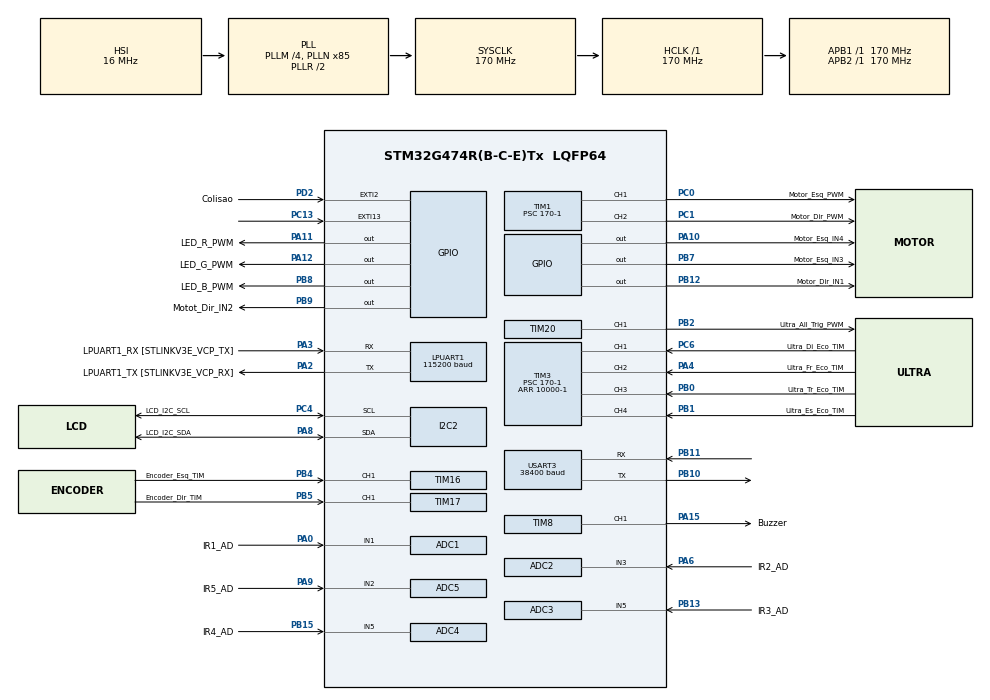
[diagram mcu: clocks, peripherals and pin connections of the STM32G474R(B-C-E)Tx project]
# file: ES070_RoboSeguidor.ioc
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ADC1.Channel-2\#ChannelRegularConversion=ADC_CHANNEL_1
ADC1.ContinuousConvMode=ENABLE
ADC1.DMAContinuousRequests=ENABLE
ADC1.NbrOfConversionFlag=1
ADC1.OffsetNumber-2\#ChannelRegularConversion=ADC_OFFSET_NONE
ADC1.OversamplingMode=ENABLE
ADC1.Rank-2\#ChannelRegularConversion=1
ADC1.Ratio=ADC_OVERSAMPLING_RATIO_16
ADC1.RightBitShift=ADC_RIGHTBITSHIFT_4
ADC1.SamplingTime-2\#ChannelRegularConversion=ADC_SAMPLETIME_2CYCLES_5
ADC1.master=1
ADC2.Channel-0\#ChannelRegularConversion=ADC_CHANNEL_3
ADC2.ClockPrescaler=ADC_CLOCK_SYNC_PCLK_DIV4
ADC2.ContinuousConvMode=ENABLE
ADC2.DMAContinuousRequests=ENABLE
ADC2.NbrOfConversionFlag=1
ADC2.OffsetNumber-0\#ChannelRegularConversion=ADC_OFFSET_NONE
ADC2.OversamplingMode=ENABLE
ADC2.Rank-0\#ChannelRegularConversion=1
ADC2.Ratio=ADC_OVERSAMPLING_RATIO_16
ADC2.RightBitShift=ADC_RIGHTBITSHIFT_4
ADC2.SamplingTime-0\#ChannelRegularConversion=ADC_SAMPLETIME_2CYCLES_5
ADC3.Channel-0\#ChannelRegularConversion=ADC_CHANNEL_5
ADC3.ClockPrescaler=ADC_CLOCK_ASYNC_DIV256
ADC3.ContinuousConvMode=ENABLE
ADC3.DMAContinuousRequests=ENABLE
ADC3.NbrOfConversionFlag=1
ADC3.OffsetNumber-0\#ChannelRegularConversion=ADC_OFFSET_NONE
ADC3.OversamplingMode=ENABLE
ADC3.Rank-0\#ChannelRegularConversion=1
ADC3.Ratio=ADC_OVERSAMPLING_RATIO_16
ADC3.RightBitShift=ADC_RIGHTBITSHIFT_4
ADC3.SamplingTime-0\#ChannelRegularConversion=ADC_SAMPLETIME_2CYCLES_5
ADC3.master=1
ADC4.Channel-0\#ChannelRegularConversion=ADC_CHANNEL_5
ADC4.ClockPrescaler=ADC_CLOCK_ASYNC_DIV256
ADC4.ContinuousConvMode=ENABLE
ADC4.DMAContinuousRequests=ENABLE
ADC4.NbrOfConversionFlag=1
ADC4.OffsetNumber-0\#ChannelRegularConversion=ADC_OFFSET_NONE
ADC4.OversamplingMode=ENABLE
ADC4.Rank-0\#ChannelRegularConversion=1
ADC4.Ratio=ADC_OVERSAMPLING_RATIO_16
ADC4.RightBitShift=ADC_RIGHTBITSHIFT_4
ADC4.SamplingTime-0\#ChannelRegularConversion=ADC_SAMPLETIME_2CYCLES_5
ADC5.Channel-0\#ChannelRegularConversion=ADC_CHANNEL_2
ADC5.ClockPrescaler=ADC_CLOCK_ASYNC_DIV256
ADC5.ContinuousConvMode=ENABLE
ADC5.DMAContinuousRequests=ENABLE
ADC5.NbrOfConversionFlag=1
ADC5.OffsetNumber-0\#ChannelRegularConversion=ADC_OFFSET_NONE
ADC5.OversamplingMode=ENABLE
ADC5.Rank-0\#ChannelRegularConversion=1
ADC5.Ratio=ADC_OVERSAMPLING_RATIO_16
ADC5.RightBitShift=ADC_RIGHTBITSHIFT_4
ADC5.SamplingTime-0\#ChannelRegularConversion=ADC_SAMPLETIME_2CYCLES_5
Dma.ADC1.4.Direction=DMA_PERIPH_TO_MEMORY
Dma.ADC1.4.EventEnable=DISABLE
Dma.ADC1.4.Instance=DMA1_Channel1
Dma.ADC1.4.MemDataAlignment=DMA_MDATAALIGN_HALFWORD
Dma.ADC1.4.MemInc=DMA_MINC_ENABLE
Dma.ADC1.4.Mode=DMA_CIRCULAR
Dma.ADC1.4.PeriphDataAlignment=DMA_PDATAALIGN_HALFWORD
Dma.ADC1.4.PeriphInc=DMA_PINC_DISABLE
Dma.ADC1.4.Polarity=HAL_DMAMUX_REQ_GEN_RISING
Dma.ADC1.4.Priority=DMA_PRIORITY_LOW
Dma.ADC1.4.RequestNumber=1
Dma.ADC1.4.SignalID=NONE
Dma.ADC1.4.SyncEnable=DISABLE
Dma.ADC1.4.SyncPolarity=HAL_DMAMUX_SYNC_NO_EVENT
Dma.ADC1.4.SyncRequestNumber=1
Dma.ADC1.4.SyncSignalID=NONE
Dma.ADC2.0.Direction=DMA_PERIPH_TO_MEMORY
Dma.ADC2.0.EventEnable=DISABLE
Dma.ADC2.0.Instance=DMA1_Channel2
Dma.ADC2.0.MemDataAlignment=DMA_MDATAALIGN_HALFWORD
Dma.ADC2.0.MemInc=DMA_MINC_ENABLE
Dma.ADC2.0.Mode=DMA_CIRCULAR
Dma.ADC2.0.PeriphDataAlignment=DMA_PDATAALIGN_HALFWORD
Dma.ADC2.0.PeriphInc=DMA_PINC_DISABLE
Dma.ADC2.0.Polarity=HAL_DMAMUX_REQ_GEN_RISING
Dma.ADC2.0.Priority=DMA_PRIORITY_LOW
Dma.ADC2.0.RequestNumber=1
Dma.ADC2.0.SignalID=NONE
Dma.ADC2.0.SyncEnable=DISABLE
Dma.ADC2.0.SyncPolarity=HAL_DMAMUX_SYNC_NO_EVENT
Dma.ADC2.0.SyncRequestNumber=1
Dma.ADC2.0.SyncSignalID=NONE
Dma.ADC3.1.Direction=DMA_PERIPH_TO_MEMORY
Dma.ADC3.1.EventEnable=DISABLE
Dma.ADC3.1.Instance=DMA1_Channel3
Dma.ADC3.1.MemDataAlignment=DMA_MDATAALIGN_HALFWORD
Dma.ADC3.1.MemInc=DMA_MINC_ENABLE
Dma.ADC3.1.Mode=DMA_CIRCULAR
Dma.ADC3.1.PeriphDataAlignment=DMA_PDATAALIGN_HALFWORD
Dma.ADC3.1.PeriphInc=DMA_PINC_DISABLE
Dma.ADC3.1.Polarity=HAL_DMAMUX_REQ_GEN_RISING
Dma.ADC3.1.Priority=DMA_PRIORITY_LOW
Dma.ADC3.1.RequestNumber=1
Dma.ADC3.1.SignalID=NONE
Dma.ADC3.1.SyncEnable=DISABLE
Dma.ADC3.1.SyncPolarity=HAL_DMAMUX_SYNC_NO_EVENT
Dma.ADC3.1.SyncRequestNumber=1
Dma.ADC3.1.SyncSignalID=NONE
Dma.ADC4.2.Direction=DMA_PERIPH_TO_MEMORY
Dma.ADC4.2.EventEnable=DISABLE
Dma.ADC4.2.Instance=DMA1_Channel4
Dma.ADC4.2.MemDataAlignment=DMA_MDATAALIGN_HALFWORD
Dma.ADC4.2.MemInc=DMA_MINC_ENABLE
Dma.ADC4.2.Mode=DMA_CIRCULAR
Dma.ADC4.2.PeriphDataAlignment=DMA_PDATAALIGN_HALFWORD
Dma.ADC4.2.PeriphInc=DMA_PINC_DISABLE
Dma.ADC4.2.Polarity=HAL_DMAMUX_REQ_GEN_RISING
Dma.ADC4.2.Priority=DMA_PRIORITY_LOW
Dma.ADC4.2.RequestNumber=1
Dma.ADC4.2.SignalID=NONE
Dma.ADC4.2.SyncEnable=DISABLE
Dma.ADC4.2.SyncPolarity=HAL_DMAMUX_SYNC_NO_EVENT
Dma.ADC4.2.SyncRequestNumber=1
Dma.ADC4.2.SyncSignalID=NONE
Dma.ADC5.3.Direction=DMA_PERIPH_TO_MEMORY
Dma.ADC5.3.EventEnable=DISABLE
Dma.ADC5.3.Instance=DMA1_Channel5
Dma.ADC5.3.MemDataAlignment=DMA_MDATAALIGN_HALFWORD
Dma.ADC5.3.MemInc=DMA_MINC_ENABLE
Dma.ADC5.3.Mode=DMA_CIRCULAR
Dma.ADC5.3.PeriphDataAlignment=DMA_PDATAALIGN_HALFWORD
Dma.ADC5.3.PeriphInc=DMA_PINC_DISABLE
Dma.ADC5.3.Polarity=HAL_DMAMUX_REQ_GEN_RISING
Dma.ADC5.3.Priority=DMA_PRIORITY_LOW
Dma.ADC5.3.RequestNumber=1
Dma.ADC5.3.SignalID=NONE
Dma.ADC5.3.SyncEnable=DISABLE
Dma.ADC5.3.SyncPolarity=HAL_DMAMUX_SYNC_NO_EVENT
Dma.ADC5.3.SyncRequestNumber=1
Dma.ADC5.3.SyncSignalID=NONE
Dma.I2C2_RX.5.Direction=DMA_PERIPH_TO_MEMORY
Dma.I2C2_RX.5.EventEnable=DISABLE
Dma.I2C2_RX.5.Instance=DMA1_Channel6
Dma.I2C2_RX.5.MemDataAlignment=DMA_MDATAALIGN_BYTE
Dma.I2C2_RX.5.MemInc=DMA_MINC_ENABLE
Dma.I2C2_RX.5.Mode=DMA_NORMAL
Dma.I2C2_RX.5.PeriphDataAlignment=DMA_PDATAALIGN_BYTE
Dma.I2C2_RX.5.PeriphInc=DMA_PINC_DISABLE
Dma.I2C2_RX.5.Polarity=HAL_DMAMUX_REQ_GEN_RISING
Dma.I2C2_RX.5.Priority=DMA_PRIORITY_LOW
Dma.I2C2_RX.5.RequestNumber=1
Dma.I2C2_RX.5.SignalID=NONE
Dma.I2C2_RX.5.SyncEnable=DISABLE
Dma.I2C2_RX.5.SyncPolarity=HAL_DMAMUX_SYNC_NO_EVENT
Dma.I2C2_RX.5.SyncRequestNumber=1
Dma.I2C2_RX.5.SyncSignalID=NONE
Dma.I2C2_TX.6.Direction=DMA_MEMORY_TO_PERIPH
Dma.I2C2_TX.6.EventEnable=DISABLE
Dma.I2C2_TX.6.Instance=DMA1_Channel7
Dma.I2C2_TX.6.MemDataAlignment=DMA_MDATAALIGN_BYTE
Dma.I2C2_TX.6.MemInc=DMA_MINC_ENABLE
Dma.I2C2_TX.6.Mode=DMA_NORMAL
Dma.I2C2_TX.6.PeriphDataAlignment=DMA_PDATAALIGN_BYTE
Dma.I2C2_TX.6.PeriphInc=DMA_PINC_DISABLE
Dma.I2C2_TX.6.Polarity=HAL_DMAMUX_REQ_GEN_RISING
Dma.I2C2_TX.6.Priority=DMA_PRIORITY_LOW
Dma.I2C2_TX.6.RequestNumber=1
Dma.I2C2_TX.6.SignalID=NONE
Dma.I2C2_TX.6.SyncEnable=DISABLE
Dma.I2C2_TX.6.SyncPolarity=HAL_DMAMUX_SYNC_NO_EVENT
Dma.I2C2_TX.6.SyncRequestNumber=1
Dma.I2C2_TX.6.SyncSignalID=NONE
Dma.Request0=ADC2
Dma.Request1=ADC3
Dma.Request2=ADC4
Dma.Request3=ADC5
Dma.Request4=ADC1
Dma.Request5=I2C2_RX
Dma.Request6=I2C2_TX
I2C2.I2C_Fall_Time=100
I2C2.I2C_Rise_Time=100
I2C2.Timing=0x40B285C2
LPUART1.BaudRate=115200
LPUART1.WordLength=UART_WORDLENGTH_8B
Mcu.Family=STM32G4
Mcu.Name=STM32G474R(B-C-E)Tx
Mcu.Package=LQFP64
NVIC.DMA1_Channel6_IRQn=true\:0\:0\:false\:false\:true\:true\:true\:true
NVIC.DMA1_Channel7_IRQn=true\:0\:0\:false\:false\:true\:true\:true\:true
NVIC.EXTI15_10_IRQn=true\:0\:0\:false\:false\:true\:true\:true\:true
NVIC.I2C2_ER_IRQn=true\:0\:0\:false\:false\:true\:true\:true\:true
NVIC.I2C2_EV_IRQn=true\:0\:0\:false\:false\:true\:true\:true\:true
NVIC.PriorityGroup=NVIC_PRIORITYGROUP_4
NVIC.TIM1_BRK_TIM15_IRQn=true\:0\:0\:true\:false\:true\:true\:true\:true
NVIC.TIM1_TRG_COM_TIM17_IRQn=true\:4\:0\:true\:false\:true\:true\:true\:true
NVIC.TIM1_UP_TIM16_IRQn=true\:4\:0\:true\:false\:true\:true\:true\:true
NVIC.TIM20_BRK_IRQn=true\:0\:0\:false\:false\:true\:true\:true\:true
NVIC.TIM20_CC_IRQn=true\:0\:0\:false\:false\:true\:true\:true\:true
NVIC.TIM20_TRG_COM_IRQn=true\:0\:0\:false\:false\:true\:true\:true\:true
NVIC.TIM20_UP_IRQn=true\:0\:0\:false\:false\:true\:true\:true\:true
NVIC.TIM2_IRQn=true\:0\:0\:false\:false\:true\:true\:true\:true
NVIC.TIM3_IRQn=true\:1\:0\:true\:false\:true\:true\:true\:true
NVIC.USART3_IRQn=true\:0\:0\:false\:false\:true\:true\:true\:true
PA0.GPIO_Label=IR1_AD
PA0.Mode=IN1-Single-Ended
PA0.Signal=ADC1_IN1
PA10.GPIO_Label=Motor_Esq_IN4
PA10.Signal=GPIO_Output
PA11.GPIO_Label=LED_R_PWM
PA11.Signal=GPIO_Output
PA12.GPIO_Label=LED_G_PWM
PA12.Signal=GPIO_Output
PA13.GPIO_Label=T_SWDIO
PA13.Mode=Serial_Wire
PA13.Signal=SYS_JTMS-SWDIO
PA14.GPIO_Label=T_SWCLK
PA14.Mode=Serial_Wire
PA14.Signal=SYS_JTCK-SWCLK
PA15.GPIO_Label=Buzzer
PA15.Signal=S_TIM8_CH1
PA2.GPIO_Label=LPUART1_TX [STLINKV3E_VCP_RX]
PA2.Mode=Asynchronous
PA2.Signal=LPUART1_TX
PA3.GPIO_Label=LPUART1_RX [STLINKV3E_VCP_TX]
PA3.Mode=Asynchronous
PA3.Signal=LPUART1_RX
PA4.GPIO_Label=Ultra_Fr_Eco_TIM
PA4.Signal=S_TIM3_CH2
PA6.GPIO_Label=IR2_AD
PA6.Mode=IN3-Single-Ended
PA6.Signal=ADC2_IN3
PA8.GPIO_Label=LCD_I2C_SDA
PA8.Mode=I2C
PA8.Signal=I2C2_SDA
PA9.GPIO_Label=IR5_AD
PA9.Mode=IN2-Single-Ended
PA9.Signal=ADC5_IN2
PB0.GPIO_Label=Ultra_Tr_Eco_TIM
PB0.Signal=S_TIM3_CH3
PB1.GPIO_Label=Ultra_Es_Eco_TIM
PB1.Signal=S_TIM3_CH4
PB10.Mode=Asynchronous
PB10.Signal=USART3_TX
PB11.Mode=Asynchronous
PB11.Signal=USART3_RX
PB12.GPIO_Label=Motor_Dir_IN1
PB12.Signal=GPIO_Output
PB13.GPIO_Label=IR3_AD
PB13.Mode=IN5-Single-Ended
PB13.Signal=ADC3_IN5
PB14.GPIO_Label=Ultra_Rot_Eco_TIM
PB14.Signal=S_TIM15_CH1
PB15.GPIO_Label=IR4_AD
PB15.Mode=IN5-Single-Ended
PB15.Signal=ADC4_IN5
PB2.GPIO_Label=Ultra_All_Trig_PWM
PB2.Signal=S_TIM20_CH1
PB3.GPIO_Label=T_SWO
PB3.Signal=SYS_JTDO-SWO
PB4.GPIO_Label=Encoder_Esq_TIM
PB4.Signal=S_TIM16_CH1
PB5.GPIO_Label=Encoder_Dir_TIM
PB5.Signal=S_TIM17_CH1
PB7.GPIO_Label=Motor_Esq_IN3 
PB7.Signal=GPIO_Output
PB8-BOOT0.GPIO_Label=LED_B_PWM
PB8-BOOT0.Signal=GPIO_Output
PB9.GPIO_Label=Motot_Dir_IN2
PB9.Signal=GPIO_Output
PC0.GPIO_Label=Motor_Esq_PWM
PC0.Signal=S_TIM1_CH1
PC1.GPIO_Label=Motor_Dir_PWM
PC1.Signal=S_TIM1_CH2
PC13.Signal=GPXTI13
PC14-OSC32_IN.Mode=LSE-External-Oscillator
PC14-OSC32_IN.Signal=RCC_OSC32_IN
PC15-OSC32_OUT.Mode=LSE-External-Oscillator
PC15-OSC32_OUT.Signal=RCC_OSC32_OUT
PC4.GPIO_Label=LCD_I2C_SCL
PC4.Mode=I2C
PC4.Signal=I2C2_SCL
PC6.GPIO_Label=Ultra_Di_Eco_TIM
PC6.Signal=S_TIM3_CH1
PD2.GPIO_Label=Colisao
PD2.Signal=GPXTI2
PF0-OSC_IN.Mode=HSE-External-Oscillator
PF0-OSC_IN.Signal=RCC_OSC_IN
PF1-OSC_OUT.Mode=HSE-External-Oscillator
PF1-OSC_OUT.Signal=RCC_OSC_OUT
ProjectManager.HeapSize=0x200
ProjectManager.StackSize=0x400
ProjectManager.TargetToolchain=STM32CubeIDE
RCC.ADC12Freq_Value=170000000
RCC.ADC345Freq_Value=170000000
RCC.AHBFreq_Value=170000000
RCC.APB1Freq_Value=170000000
RCC.APB1TimFreq_Value=170000000
RCC.APB2Freq_Value=170000000
RCC.APB2TimFreq_Value=170000000
RCC.CortexFreq_Value=170000000
RCC.EXTERNAL_CLOCK_VALUE=12288000
RCC.HCLKFreq_Value=170000000
RCC.HSE_VALUE=24000000
RCC.HSI48_VALUE=48000000
RCC.HSI_VALUE=16000000
RCC.PLLM=RCC_PLLM_DIV4
RCC.PLLN=85
RCC.RTCClockSelection=RCC_RTCCLKSOURCE_LSE
RCC.SYSCLKFreq_VALUE=170000000
RCC.SYSCLKSource=RCC_SYSCLKSOURCE_PLLCLK
RCC.USBFreq_Value=170000000
RCC.VCOOutputFreq_Value=340000000
SH.S_TIM15_CH1.0=TIM15_CH1
SH.S_TIM16_CH1.0=TIM16_CH1,Input_Capture1_from_TI1
SH.S_TIM17_CH1.0=TIM17_CH1,Input_Capture1_from_TI1
SH.S_TIM1_CH1.0=TIM1_CH1,PWM Generation1 CH1
SH.S_TIM1_CH2.0=TIM1_CH2,PWM Generation2 CH2
SH.S_TIM20_CH1.0=TIM20_CH1,PWM Generation1 CH1
SH.S_TIM3_CH1.0=TIM3_CH1,Input_Capture1_from_TI1
SH.S_TIM3_CH2.0=TIM3_CH2,Input_Capture2_from_TI2
SH.S_TIM3_CH3.0=TIM3_CH3,Input_Capture3_from_TI3
SH.S_TIM3_CH4.0=TIM3_CH4,Input_Capture4_from_TI4
SH.S_TIM8_CH1.0=TIM8_CH1,PWM Generation1 CH1
TIM1.Channel-PWM\ Generation1\ CH1=TIM_CHANNEL_1
TIM1.Channel-PWM\ Generation2\ CH2=TIM_CHANNEL_2
TIM1.PeriodNoDither=1000
TIM1.Prescaler=170-1
TIM15.PeriodNoDither=1000-1
TIM15.Prescaler=17000-1
TIM16.Channel=TIM_CHANNEL_1
TIM16.ICFilter_CH1=15
TIM16.PeriodNoDither=50000-1
TIM16.Prescaler=1700-1
TIM17.Channel=TIM_CHANNEL_1
TIM17.ICFilter_CH1=15
TIM17.PeriodNoDither=50000-1
TIM17.Prescaler=1700-1
TIM2.PeriodNoDither=5000-1
TIM2.Prescaler=17000-1
TIM20.Channel-PWM\ Generation1\ CH1=TIM_CHANNEL_1
TIM20.PeriodNoDither=10000-1
TIM20.Prescaler=1700-1
TIM3.Channel-Input_Capture1_from_TI1=TIM_CHANNEL_1
TIM3.Channel-Input_Capture2_from_TI2=TIM_CHANNEL_2
TIM3.Channel-Input_Capture3_from_TI3=TIM_CHANNEL_3
TIM3.Channel-Input_Capture4_from_TI4=TIM_CHANNEL_4
TIM3.ICPolarity_CH2=TIM_INPUTCHANNELPOLARITY_BOTHEDGE
TIM3.PeriodNoDither=10000-1
TIM3.Prescaler=170-1
TIM8.Channel-PWM\ Generation1\ CH1=TIM_CHANNEL_1
TIM8.PeriodNoDither=1000-1
TIM8.Prescaler=170-1
USART3.BaudRate=38400
USART3.VirtualMode-Asynchronous=VM_ASYNC
VP_SYS_VS_DBSignals.Mode=DisableDeadBatterySignals
VP_TIM15_VS_ClockSourceINT.Mode=Internal
VP_TIM16_VS_ClockSourceINT.Mode=Enable_Timer
VP_TIM17_VS_ClockSourceINT.Mode=Enable_Timer
VP_TIM1_VS_ClockSourceINT.Mode=Internal
VP_TIM2_VS_ClockSourceINT.Mode=Internal
VP_TIM3_VS_ClockSourceINT.Mode=Internal
VP_TIM6_VS_ClockSourceINT.Mode=Enable_Timer
VP_TIM8_VS_ClockSourceINT.Mode=Internal
board=NUCLEO-G474RE

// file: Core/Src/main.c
/* USER CODE BEGIN Header */
/**
  ******************************************************************************
  * @file           : main.c
  * @brief          : Main program body
  ******************************************************************************
  * @attention
  *
  * Copyright (c) 2024 STMicroelectronics.
  * All rights reserved.
  *
  * This software is licensed under terms that can be found in the LICENSE file
  * in the root directory of this software component.
  * If no LICENSE file comes with this software, it is provided AS-IS.
  *
  ******************************************************************************
  */

/* USER CODE END Header */
#include "main.h"
#include "adc.h"
#include "dma.h"
#include "i2c.h"
#include "usart.h"
#include "tim.h"
#include "gpio.h"

/* USER CODE BEGIN Includes */
#include "stdio.h"
#include "sensorLinha.h"
#include "motor.h"
#include "encoder.h"
#include "pid.h"
#include "lcd_hd44780_i2c.h"
#include "sensorUltrassonico.h"

/* USER CODE END Includes */

/* USER CODE BEGIN PTD */
float kp1, ki1, kd1,d,e,kp2, ki2, kd2;
//float dutyCycleE= base_speed;
//float dutyCycleD= base_speed;

/* USER CODE END PTD */

/* USER CODE BEGIN PD */
void HAL_TIM_PeriodElapsedCallback(TIM_HandleTypeDef * htim);
/* USER CODE END PD */

/* USER CODE BEGIN PV */
uint8_t rxData;
volatile uint8_t rxData_M= 0;

int iColisao = 0;

int iCarroParado = 0;

int iLCDcounter = 0;

float fVelocidadeEsquerdaAntiga, fVelocidadeDireitaAntiga;

float fDistancia;

/* USER CODE END PV */

void SystemClock_Config(void);

int main(void)
{

  /* MCU Configuration--------------------------------------------------------*/

  /* Reset of all peripherals, Initializes the Flash interface and the Systick. */
  HAL_Init();

  /* Configure the system clock */
  SystemClock_Config();

  /* Initialize all configured peripherals */
  MX_GPIO_Init();
  MX_DMA_Init();
  MX_LPUART1_UART_Init();
  MX_TIM1_Init();
  MX_I2C2_Init();
  MX_ADC3_Init();
  MX_ADC1_Init();
  MX_ADC2_Init();
  MX_ADC4_Init();
  MX_ADC5_Init();
  MX_TIM16_Init();
  MX_TIM17_Init();
  MX_TIM6_Init();
  MX_TIM15_Init();
  MX_TIM2_Init();
  MX_TIM3_Init();
  MX_USART3_UART_Init();
  MX_TIM8_Init();
  MX_TIM20_Init();
  /* USER CODE BEGIN 2 */
  vMotorInit(&htim1);
  inicializarEncoders(&htim16, &htim17);
  vLineSensor1Init(&hadc1);
  vLineSensor2Init(&hadc2);
  vLineSensor3Init(&hadc3);
  vLineSensor4Init(&hadc4);
  vLineSensor5Init(&hadc5);
  lcdInit(&hi2c2,(uint8_t)0x27,(uint8_t)2,(uint8_t)16);
  HAL_TIM_Base_Start_IT(&htim15);
  HAL_TIM_Base_Start_IT(&htim3);
  vPidInit(3.2, 0.22, 0, 1000, 100);
  vPidInit2(3.5, 0.5, 0, 1000, 100);

  //Buzzer
  vDistanceSensorInitSensors(&htim20, TIM_CHANNEL_1, &htim3, TIM_CHANNEL_1);

  //Bluetooth
  HAL_UART_Receive_IT(&huart3,&rxData,1);

  /* USER CODE END 2 */

  /* Infinite loop */
  /* USER CODE BEGIN WHILE */

  	//vPrintMotorSpeed(0, 0);
    while (1)
    {
    	__HAL_TIM_SET_COMPARE(&htim8, TIM_CHANNEL_1, 0);
//    	iColisao = 0;

    	if((iCarroParado == 1) && (iColisao == 0)){
    		vPrintString("      MODO      ", "     MANUAL     ");
    	}

    	if ((5 <= iLCDcounter) && (rxData_M == 0) && (iColisao == 0))

	    {
			if ((fVelocidadeEsquerdaAntiga == velocidadeRodaEsquerda) && (fVelocidadeDireitaAntiga != velocidadeRodaDireita))
			  {
				vPrintMotorSpeed(0, velocidadeRodaDireita);
			  }
			  else if ((fVelocidadeEsquerdaAntiga != velocidadeRodaEsquerda) && (fVelocidadeDireitaAntiga == velocidadeRodaDireita))
			  {
				vPrintMotorSpeed(velocidadeRodaEsquerda, 0);
			  }
			  else if ((fVelocidadeEsquerdaAntiga != velocidadeRodaEsquerda) && (fVelocidadeDireitaAntiga != velocidadeRodaDireita))
			  {
				vPrintMotorSpeed(velocidadeRodaEsquerda, velocidadeRodaDireita);
			  }
			  else if ((fVelocidadeEsquerdaAntiga == velocidadeRodaEsquerda) && (fVelocidadeDireitaAntiga == velocidadeRodaDireita))
			  {
				vPrintMotorSpeed(0, 0);
			  }

			  fVelocidadeEsquerdaAntiga = velocidadeRodaEsquerda;
		      fVelocidadeDireitaAntiga = velocidadeRodaDireita;
		      iLCDcounter=0;
	    }

    	if(HAL_GPIO_ReadPin(Colisao_GPIO_Port, Colisao_Pin) == 1){

    		__HAL_TIM_SET_COMPARE(&htim8, TIM_CHANNEL_1, 999);
    		vPrintString("    ATENCAO  !! ", "  HOUVE COLISAO ");
    		vSetRodasDC(0,0);
    		iColisao = 1;

    	}
    	else{
    		iColisao = 0;
    	}
    	fDistancia = fDistanceSensorGetRightDistance();
    	if (fDistancia < 20)
    	{
    		vPrintString("    ATENCAO  !! ", "  HAVERA COLISAO ");
    		vSetRodasDC(0,0);
			iColisao = 1;
    	}

//    	if( iColisao == 1){
//    	    vPrintString("    ATENCAO  !! ", "  HOUVE COLISAO ");
//    	    vSetRodasDC(0,0);
//    	    rxData_M = 1;
//    	}

    	//vSetRodasDC(d,e);
    	//vPrintMotorSpeed(velocidadeRodaEsquerda, velocidadeRodaDireita);
    	//HAL_Delay(10);
        // Controla o PID para ajustar os motores
        //vLineSensorPIDControl(velocidadeRodaEsquerda, velocidadeRodaDireita);
    	//vSetRodasDC(dutyCycleD,dutyCycleE);
    	 //vLineSensorPIDControl();
        // Adiciona um pequeno atraso se necessário
        //HAL_Delay(10); e esse o da apresentaçao 2

    /* USER CODE END WHILE */

  }
}

void SystemClock_Config(void)
{
  RCC_OscInitTypeDef RCC_OscInitStruct = {0};
  RCC_ClkInitTypeDef RCC_ClkInitStruct = {0};

  /** Configure the main internal regulator output voltage
  */
  HAL_PWREx_ControlVoltageScaling(PWR_REGULATOR_VOLTAGE_SCALE1_BOOST);

  /** Initializes the RCC Oscillators according to the specified parameters
  * in the RCC_OscInitTypeDef structure.
  */
  RCC_OscInitStruct.OscillatorType = RCC_OSCILLATORTYPE_HSI;
  RCC_OscInitStruct.HSIState = RCC_HSI_ON;
  RCC_OscInitStruct.HSICalibrationValue = RCC_HSICALIBRATION_DEFAULT;
  RCC_OscInitStruct.PLL.PLLState = RCC_PLL_ON;
  RCC_OscInitStruct.PLL.PLLSource = RCC_PLLSOURCE_HSI;
  RCC_OscInitStruct.PLL.PLLM = RCC_PLLM_DIV4;
  RCC_OscInitStruct.PLL.PLLN = 85;
  RCC_OscInitStruct.PLL.PLLP = RCC_PLLP_DIV2;
  RCC_OscInitStruct.PLL.PLLQ = RCC_PLLQ_DIV2;
  RCC_OscInitStruct.PLL.PLLR = RCC_PLLR_DIV2;
  if (HAL_RCC_OscConfig(&RCC_OscInitStruct) != HAL_OK)
  {
    Error_Handler();
  }

  /** Initializes the CPU, AHB and APB buses clocks
  */
  RCC_ClkInitStruct.ClockType = RCC_CLOCKTYPE_HCLK|RCC_CLOCKTYPE_SYSCLK
                              |RCC_CLOCKTYPE_PCLK1|RCC_CLOCKTYPE_PCLK2;
  RCC_ClkInitStruct.SYSCLKSource = RCC_SYSCLKSOURCE_PLLCLK;
  RCC_ClkInitStruct.AHBCLKDivider = RCC_SYSCLK_DIV1;
  RCC_ClkInitStruct.APB1CLKDivider = RCC_HCLK_DIV1;
  RCC_ClkInitStruct.APB2CLKDivider = RCC_HCLK_DIV1;

  if (HAL_RCC_ClockConfig(&RCC_ClkInitStruct, FLASH_LATENCY_4) != HAL_OK)
  {
    Error_Handler();
  }
}

/* USER CODE BEGIN 4 */
void HAL_TIM_PeriodElapsedCallback (TIM_HandleTypeDef * htim){
	// Chamada a cada 10 ms
	iCarroParado = 0;
	if (rxData_M == 0 && iColisao ==0){
		if (htim == &htim15){
			vLineSensorPIDControl();
		}
		if (htim == &htim3){
			ajustaVelocidadeRodas();
			}
		if (htim == &htim16){
			overflow1 +=1;
			if(overflow1 > 5){
				velocidadeRodaEsquerda = 0;
			}
			}
		if (htim == &htim17){
			overflow2 +=1;
			if(overflow2 > 5){
				velocidadeRodaDireita = 0;
			}
		}
	}
	else if((iColisao == 1)){
		vSetRodasDC(0,0);
	}
	else if((fDistancia < 20) && rxData_M == 0){
			vSetRodasDC(0,0);
		}
	if (htim == &htim15){
		iLCDcounter += 1;
	}
}

void HAL_TIM_IC_CaptureCallback(TIM_HandleTypeDef *htim) {
	if (htim == pDistanceSensorTIM)
	{
		vDistanceSensorInputCaptureCallback(htim);
	}
    if (htim == &htim16) {
        processarCapturaRodaEsquerda(htim);
    }
    if (htim == &htim17) {
        processarCapturaRodaDireita(htim);

    }
}

void HAL_UART_RxCpltCallback(UART_HandleTypeDef *huart)
{

  if(huart->Instance==USART3)
  {

	if(rxData=='M') // Modo Manual
	{
		rxData_M = 1;
		iCarroParado = 1;

	}
	else if (rxData=='A') // Modo Automático
	{
	    rxData_M = 0;
	}
	else if(rxData=='1') // Move para frente
	{
		vSetRodasDC(1,1);
		iCarroParado = 1;
		while(HAL_GPIO_ReadPin(Colisao_GPIO_Port, Colisao_Pin) == 1){
			vSetRodasDC(0,0);
			iColisao = 1;
		}
	}
	else if (rxData=='2') // Gira para direita
	{
		vSetRodasDC(1,0);
		iCarroParado = 1;
		while(HAL_GPIO_ReadPin(Colisao_GPIO_Port, Colisao_Pin) == 1){
			vSetRodasDC(0,0);
			iColisao = 1;
		}
	}
	else if (rxData=='3') // Gira para esquerda
	{
		vSetRodasDC(0,1);
		iCarroParado = 1;
		while(HAL_GPIO_ReadPin(Colisao_GPIO_Port, Colisao_Pin) == 1){
			vSetRodasDC(0,0);
			iColisao = 1;
		}
	}
	else if (rxData=='4') // Para o veículo
	{
		vSetRodasDC(0,0);
	}

    else if (rxData=='6')
    {

    }
    else if (rxData=='7')
    {

    }
    else if (rxData=='8') // Apaga todos os LEDs
    {
    	HAL_GPIO_WritePin(LED_G_PWM_GPIO_Port, LED_G_PWM_Pin, 0);
    	HAL_GPIO_WritePin(LED_R_PWM_GPIO_Port, LED_R_PWM_Pin, 0);
    	HAL_GPIO_WritePin(LED_B_PWM_GPIO_Port, LED_B_PWM_Pin, 0);
    }
    else if (rxData=='9') // Acendo todos os LEDs
    {
    	HAL_GPIO_WritePin(LED_G_PWM_GPIO_Port, LED_G_PWM_Pin, 1);
    	HAL_GPIO_WritePin(LED_R_PWM_GPIO_Port, LED_R_PWM_Pin, 1);
    	HAL_GPIO_WritePin(LED_B_PWM_GPIO_Port, LED_B_PWM_Pin, 1);
    }
    HAL_UART_Receive_IT(&huart3,&rxData,1);
  }

}

/* USER CODE END 4 */

void Error_Handler(void)
{
  __disable_irq();
  while (1)
  {
  }
}
